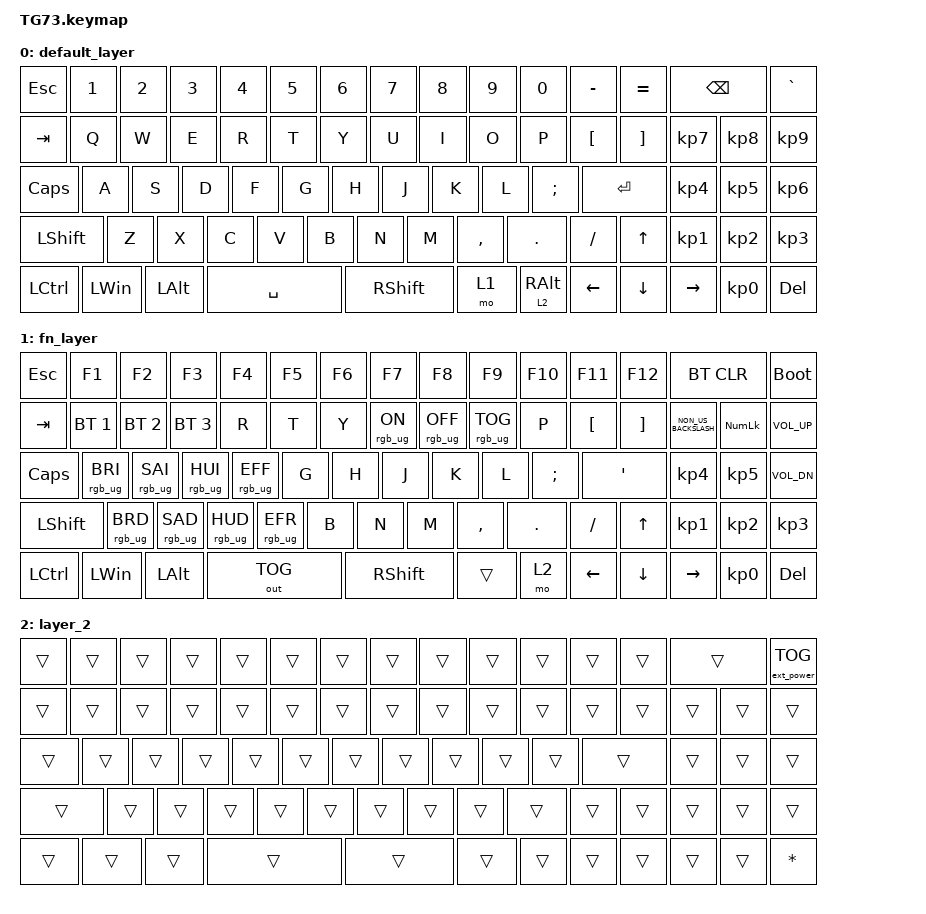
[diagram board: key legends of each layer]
/*
 * Copyright (c) 2020 The ZMK Contributors
 *
 * SPDX-License-Identifier: MIT
 */

#include <behaviors.dtsi>
#include <dt-bindings/zmk/bt.h>
#include <dt-bindings/zmk/ext_power.h>
#include <dt-bindings/zmk/keys.h>
#include <dt-bindings/zmk/outputs.h>
#include <dt-bindings/zmk/rgb.h>

/ {
    keymap0: keymap {
        compatible = "zmk,keymap";

        default_layer {
            // -----------------------------------------------------------------------------------------------------
            // | ESC     |  1    |  2    |  3    |  4      |  5  |  6      |  7  |  8  |  9  |  0   |  -    |             =         |        | BKSP  |  ~    |     
            // | TAB     |  Q    |  W    |  E    |  R      |  T  |  Y      |  U  |  I  |  O  |  P   |  [    |             ]         |  P7    | P8    |  P9   |     
            // | CAPS    |  A    |  S    |  D    |  F      |  G  |  H      |  J  |  K  |  L  |  ;   |       |               ENTER   |  P4    | P5    |  P6   |
            // |  SHIFT  |       | Z     |  X    |  C      |  V  |  B      |  N  |  M  |  ,  |  .   |  /    |               UP      |  P1    | P2    |  P3   |
            // |  CTL    |  WIN  |  ALT  |       |  SPACE  |     |  SHIFT  |     |     |  fn |  ALT |  LEFT |             DOWN      | RIGHT  | P0    |  DEL  |   
            // -----------------------------------------------------------------------------------------------------

            bindings = <
&kp ESC    &kp N1    &kp N2    &kp N3  &kp N4     &kp N5  &kp N6      &kp N7  &kp N8  &kp N9     &kp N0      &kp MINUS  &kp EQUAL             &kp BSPC   &kp GRAVE
&kp TAB    &kp Q     &kp W     &kp E   &kp R      &kp T   &kp Y       &kp U   &kp I   &kp O      &kp P       &kp LBKT   &kp RBKT   &kp KP_N7  &kp KP_N8  &kp KP_N9
&kp CLCK   &kp A     &kp S     &kp D   &kp F      &kp G   &kp H       &kp J   &kp K   &kp L      &kp SEMI               &kp ENTER  &kp KP_N4  &kp KP_N5  &kp KP_N6
&kp LSHFT            &kp Z     &kp X   &kp C      &kp V   &kp B       &kp N   &kp M   &kp COMMA  &kp DOT     &kp SLASH  &kp UP     &kp KP_N1  &kp KP_N2  &kp KP_N3
&kp LCTRL  &kp LWIN  &kp LALT          &kp SPACE          &kp RSHIFT                  &mo 1      &lt 2 RALT  &kp LEFT   &kp DOWN   &kp RIGHT  &kp KP_N0  &kp DEL
            >;
        };

        fn_layer {
            // ------------------------------------------------------------------------------------------------------
            // | ESC     | F1    | F2    | F3    | F4             | F5  | F6      | F7  | F8  | F9          | F10   |  F11  |           F12         |        | BT_CLR  |  BOOT    |     
            // | TAB     | BT1   |  BT2  |  BT3  |  R             |  T  |  Y      |  U  |  I  |  RGB 开关   |  P   |  [    |             ]         |  \     | NUM     |  VOLUP   |     
            // | CAPS    | RGB BRI+ | RGB SAT+ | RGB HUE+ | RGB ANI+      |  G  |  H      |  J  |  K  |  L          |  ;   |       |          ’            |  P4    | P5      |  VOLDN  |
            // |  SHIFT  |       | RGB BRI- | RGB SAT- | RGB HUE- | RGB ANI-  |  B      |  N  |  M  |  ,          |  .   |  /    |               UP      |  P1    | P2      |  P3   |
            // |  CTL    |  win  |  7alt  |       |  trans USB/BT  |     |  SHIFT  |     |     |  fn         |  CTL |  LEFT |             DOWN      | RIGHT  | P0      |  DEL  |   
            // ------------------------------------------------------------------------------------------------------

            bindings = <
&kp ESC    &kp F1           &kp F2           &kp F3           &kp F4           &kp F5           &kp F6      &kp F7          &kp F8           &kp F9           &kp F10   &kp F11    &kp F12                         &bt BT_CLR  &bootloader
&kp TAB    &bt BT_SEL 1     &bt BT_SEL 2     &bt BT_SEL 3     &kp R            &kp T            &kp Y       &rgb_ug RGB_ON  &rgb_ug RGB_OFF  &rgb_ug RGB_TOG  &kp P     &kp LBKT   &kp RBKT  &kp NON_US_BACKSLASH  &kp KP_NUM  &kp C_VOL_UP
&kp CLCK   &rgb_ug RGB_BRI  &rgb_ug RGB_SAI  &rgb_ug RGB_HUI  &rgb_ug RGB_EFF  &kp G            &kp H       &kp J           &kp K            &kp L            &kp SEMI             &kp SQT   &kp KP_N4             &kp KP_N5   &kp C_VOL_DN
&kp LSHFT                   &rgb_ug RGB_BRD  &rgb_ug RGB_SAD  &rgb_ug RGB_HUD  &rgb_ug RGB_EFR  &kp B       &kp N           &kp M            &kp COMMA        &kp DOT   &kp SLASH  &kp UP    &kp KP_N1             &kp KP_N2   &kp KP_N3
&kp LCTRL  &kp LWIN         &kp LALT                          &out OUT_TOG                      &kp RSHIFT                                   &trans           &mo 2     &kp LEFT   &kp DOWN  &kp RIGHT             &kp KP_N0   &kp DEL
            >;
        };

        layer_2 {
            bindings = <
&trans  &trans  &trans  &trans  &trans  &trans  &trans  &trans  &trans  &trans  &trans  &trans  &trans          &trans  &ext_power EP_TOG
&trans  &trans  &trans  &trans  &trans  &trans  &trans  &trans  &trans  &trans  &trans  &trans  &trans  &trans  &trans  &trans
&trans  &trans  &trans  &trans  &trans  &trans  &trans  &trans  &trans  &trans  &trans          &trans  &trans  &trans  &trans
&trans          &trans  &trans  &trans  &trans  &trans  &trans  &trans  &trans  &trans  &trans  &trans  &trans  &trans  &trans
&trans  &trans  &trans          &trans          &trans                  &trans  &trans  &trans  &trans  &trans  &trans  &kp ASTERISK
            >;
        };
    };
};
